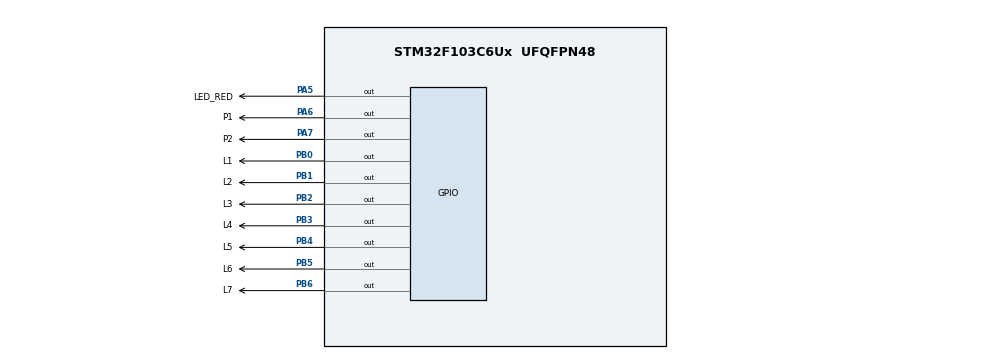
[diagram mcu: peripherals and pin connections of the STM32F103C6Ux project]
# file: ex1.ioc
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Mcu.Family=STM32F1
Mcu.Name=STM32F103C6Ux
Mcu.Package=UFQFPN48
NVIC.PriorityGroup=NVIC_PRIORITYGROUP_4
NVIC.TIM2_IRQn=true\:0\:0\:false\:false\:true\:true\:true
PA5.GPIO_Label=LED_RED
PA5.Signal=GPIO_Output
PA6.GPIO_Label=P1
PA6.Signal=GPIO_Output
PA7.GPIO_Label=P2
PA7.Signal=GPIO_Output
PB0.GPIO_Label=L1
PB0.Signal=GPIO_Output
PB1.GPIO_Label=L2
PB1.Signal=GPIO_Output
PB2.GPIO_Label=L3
PB2.Signal=GPIO_Output
PB3.GPIO_Label=L4
PB3.Signal=GPIO_Output
PB4.GPIO_Label=L5
PB4.Signal=GPIO_Output
PB5.GPIO_Label=L6
PB5.Signal=GPIO_Output
PB6.GPIO_Label=L7
PB6.Signal=GPIO_Output
ProjectManager.HeapSize=0x200
ProjectManager.StackSize=0x400
ProjectManager.TargetToolchain=STM32CubeIDE
RCC.APB1Freq_Value=8000000
RCC.APB2Freq_Value=8000000
TIM2.Period=9
TIM2.Prescaler=7999
VP_SYS_VS_ND.Mode=No_Debug
VP_TIM2_VS_ClockSourceINT.Mode=Internal
board=custom

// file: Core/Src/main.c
/* USER CODE BEGIN Header */
/**
  ******************************************************************************
  * @file           : main.c
  * @brief          : Main program body
  ******************************************************************************
  * @attention
  *
  * <h2><center>&copy; Copyright (c) 2022 STMicroelectronics.
  * All rights reserved.</center></h2>
  *
  * This software component is licensed by ST under BSD 3-Clause license,
  * the "License"; You may not use this file except in compliance with the
  * License. You may obtain a copy of the License at:
  *                        opensource.org/licenses/BSD-3-Clause
  *
  ******************************************************************************
  */
/* USER CODE END Header */
#include "main.h"

/* USER CODE BEGIN Includes */
#include "software_timer.h"
/* USER CODE END Includes */

TIM_HandleTypeDef htim2;

void SystemClock_Config(void);
static void MX_TIM2_Init(void);
static void MX_GPIO_Init(void);

int main(void)
{

  /* MCU Configuration--------------------------------------------------------*/

  /* Reset of all peripherals, Initializes the Flash interface and the Systick. */
  HAL_Init();

  /* Configure the system clock */
  SystemClock_Config();

  /* Initialize all configured peripherals */
  MX_TIM2_Init();
  MX_GPIO_Init();
  /* USER CODE BEGIN 2 */
  HAL_TIM_Base_Start_IT(&htim2);
  void display7SEG(int num){
  	  HAL_GPIO_WritePin( L1_GPIO_Port , L1_Pin ,GPIO_PIN_SET );
  	  HAL_GPIO_WritePin( L2_GPIO_Port , L2_Pin ,GPIO_PIN_SET );
  	  HAL_GPIO_WritePin( L3_GPIO_Port , L3_Pin ,GPIO_PIN_SET );
  	  HAL_GPIO_WritePin( L4_GPIO_Port , L4_Pin ,GPIO_PIN_SET );
  	  HAL_GPIO_WritePin( L5_GPIO_Port , L5_Pin ,GPIO_PIN_SET );
  	  HAL_GPIO_WritePin( L6_GPIO_Port , L6_Pin ,GPIO_PIN_SET );
  	  HAL_GPIO_WritePin( L7_GPIO_Port , L7_Pin ,GPIO_PIN_SET );
  	  if(num<=0){
  		  HAL_GPIO_WritePin( L1_GPIO_Port , L1_Pin ,GPIO_PIN_RESET );
  		  HAL_GPIO_WritePin( L2_GPIO_Port , L2_Pin ,GPIO_PIN_RESET );
  		  HAL_GPIO_WritePin( L3_GPIO_Port , L3_Pin ,GPIO_PIN_RESET );
  		  HAL_GPIO_WritePin( L4_GPIO_Port , L4_Pin ,GPIO_PIN_RESET );
  		  HAL_GPIO_WritePin( L5_GPIO_Port , L5_Pin ,GPIO_PIN_RESET );
  		  HAL_GPIO_WritePin( L6_GPIO_Port , L6_Pin ,GPIO_PIN_RESET );
  	  }
  	  else if(num==1){
  		  HAL_GPIO_WritePin( L2_GPIO_Port , L2_Pin ,GPIO_PIN_RESET );
  		  HAL_GPIO_WritePin( L3_GPIO_Port , L3_Pin ,GPIO_PIN_RESET );
  	  }
  	  else if(num==2){
  		  HAL_GPIO_WritePin( L1_GPIO_Port , L1_Pin ,GPIO_PIN_RESET );
  		  HAL_GPIO_WritePin( L2_GPIO_Port , L2_Pin ,GPIO_PIN_RESET );
  		  HAL_GPIO_WritePin( L4_GPIO_Port , L4_Pin ,GPIO_PIN_RESET );
  		  HAL_GPIO_WritePin( L5_GPIO_Port , L5_Pin ,GPIO_PIN_RESET );
  		  HAL_GPIO_WritePin( L7_GPIO_Port , L7_Pin ,GPIO_PIN_RESET );
  	  }
  	  else if(num==3){
  		  HAL_GPIO_WritePin( L1_GPIO_Port , L1_Pin ,GPIO_PIN_RESET );
  		  HAL_GPIO_WritePin( L2_GPIO_Port , L2_Pin ,GPIO_PIN_RESET );
  		  HAL_GPIO_WritePin( L3_GPIO_Port , L3_Pin ,GPIO_PIN_RESET );
  		  HAL_GPIO_WritePin( L4_GPIO_Port , L4_Pin ,GPIO_PIN_RESET );
  		  HAL_GPIO_WritePin( L7_GPIO_Port , L7_Pin ,GPIO_PIN_RESET );
  	  }
  	  else if(num==4){
  		  HAL_GPIO_WritePin( L2_GPIO_Port , L2_Pin ,GPIO_PIN_RESET );
  		  HAL_GPIO_WritePin( L3_GPIO_Port , L3_Pin ,GPIO_PIN_RESET );
  		  HAL_GPIO_WritePin( L6_GPIO_Port , L6_Pin ,GPIO_PIN_RESET );
  		  HAL_GPIO_WritePin( L7_GPIO_Port , L7_Pin ,GPIO_PIN_RESET );
  	  }
  	  else if(num==5){
  		  HAL_GPIO_WritePin( L1_GPIO_Port , L1_Pin ,GPIO_PIN_RESET );
  		  HAL_GPIO_WritePin( L3_GPIO_Port , L3_Pin ,GPIO_PIN_RESET );
  		  HAL_GPIO_WritePin( L4_GPIO_Port , L4_Pin ,GPIO_PIN_RESET );
  		  HAL_GPIO_WritePin( L6_GPIO_Port , L6_Pin ,GPIO_PIN_RESET );
  		  HAL_GPIO_WritePin( L7_GPIO_Port , L7_Pin ,GPIO_PIN_RESET );
  	  }
  	  else if(num==6){
  		  HAL_GPIO_WritePin( L1_GPIO_Port , L1_Pin ,GPIO_PIN_RESET );
  		  HAL_GPIO_WritePin( L3_GPIO_Port , L3_Pin ,GPIO_PIN_RESET );
  		  HAL_GPIO_WritePin( L4_GPIO_Port , L4_Pin ,GPIO_PIN_RESET );
  		  HAL_GPIO_WritePin( L5_GPIO_Port , L5_Pin ,GPIO_PIN_RESET );
  		  HAL_GPIO_WritePin( L6_GPIO_Port , L6_Pin ,GPIO_PIN_RESET );
  		  HAL_GPIO_WritePin( L7_GPIO_Port , L7_Pin ,GPIO_PIN_RESET );
  	  }
  	  else if(num==7){
  		  HAL_GPIO_WritePin( L1_GPIO_Port , L1_Pin ,GPIO_PIN_RESET );
  		  HAL_GPIO_WritePin( L2_GPIO_Port , L2_Pin ,GPIO_PIN_RESET );
  		  HAL_GPIO_WritePin( L3_GPIO_Port , L3_Pin ,GPIO_PIN_RESET );
  	  }
  	  else if(num==8){
  		  HAL_GPIO_WritePin( L1_GPIO_Port , L1_Pin ,GPIO_PIN_RESET );
  		  HAL_GPIO_WritePin( L2_GPIO_Port , L2_Pin ,GPIO_PIN_RESET );
  		  HAL_GPIO_WritePin( L3_GPIO_Port , L3_Pin ,GPIO_PIN_RESET );
  		  HAL_GPIO_WritePin( L4_GPIO_Port , L4_Pin ,GPIO_PIN_RESET );
  		  HAL_GPIO_WritePin( L5_GPIO_Port , L5_Pin ,GPIO_PIN_RESET );
  		  HAL_GPIO_WritePin( L6_GPIO_Port , L6_Pin ,GPIO_PIN_RESET );
  		  HAL_GPIO_WritePin( L7_GPIO_Port , L7_Pin ,GPIO_PIN_RESET );
  	  }
  	  else if(num==9){
  		  HAL_GPIO_WritePin( L1_GPIO_Port , L1_Pin ,GPIO_PIN_RESET );
  		  HAL_GPIO_WritePin( L2_GPIO_Port , L2_Pin ,GPIO_PIN_RESET );
  		  HAL_GPIO_WritePin( L3_GPIO_Port , L3_Pin ,GPIO_PIN_RESET );
  		  HAL_GPIO_WritePin( L4_GPIO_Port , L4_Pin ,GPIO_PIN_RESET );
  		  HAL_GPIO_WritePin( L6_GPIO_Port , L6_Pin ,GPIO_PIN_RESET );
  		  HAL_GPIO_WritePin( L7_GPIO_Port , L7_Pin ,GPIO_PIN_RESET );
  	  }
    }
  /* USER CODE END 2 */

  /* Infinite loop */
  /* USER CODE BEGIN WHILE */
  int status = 0;
  setTimer(50);
  while (1)
  {
	  /* USER CODE BEGIN 3 */
	  if(timer1_flag == 1){
		  setTimer(50);
		  HAL_GPIO_TogglePin(LED_RED_GPIO_Port, LED_RED_Pin);
		  if(status == 0){
			  HAL_GPIO_WritePin(P2_GPIO_Port, P2_Pin, GPIO_PIN_RESET);
			  display7SEG(1);
			  HAL_GPIO_WritePin(P1_GPIO_Port, P1_Pin, GPIO_PIN_SET);
		  }
		  else{
			  HAL_GPIO_WritePin(P1_GPIO_Port, P1_Pin, GPIO_PIN_RESET);
			  display7SEG(2);
			  HAL_GPIO_WritePin(P2_GPIO_Port, P2_Pin, GPIO_PIN_SET);
		  }
		  status = 1 - status;
	  }
	  /* USER CODE END 3 */
  }
    /* USER CODE END WHILE */

}

void SystemClock_Config(void)
{
  RCC_OscInitTypeDef RCC_OscInitStruct = {0};
  RCC_ClkInitTypeDef RCC_ClkInitStruct = {0};

  /** Initializes the RCC Oscillators according to the specified parameters
  * in the RCC_OscInitTypeDef structure.
  */
  RCC_OscInitStruct.OscillatorType = RCC_OSCILLATORTYPE_HSI;
  RCC_OscInitStruct.HSIState = RCC_HSI_ON;
  RCC_OscInitStruct.HSICalibrationValue = RCC_HSICALIBRATION_DEFAULT;
  RCC_OscInitStruct.PLL.PLLState = RCC_PLL_NONE;
  if (HAL_RCC_OscConfig(&RCC_OscInitStruct) != HAL_OK)
  {
    Error_Handler();
  }
  /** Initializes the CPU, AHB and APB buses clocks
  */
  RCC_ClkInitStruct.ClockType = RCC_CLOCKTYPE_HCLK|RCC_CLOCKTYPE_SYSCLK
                              |RCC_CLOCKTYPE_PCLK1|RCC_CLOCKTYPE_PCLK2;
  RCC_ClkInitStruct.SYSCLKSource = RCC_SYSCLKSOURCE_HSI;
  RCC_ClkInitStruct.AHBCLKDivider = RCC_SYSCLK_DIV1;
  RCC_ClkInitStruct.APB1CLKDivider = RCC_HCLK_DIV1;
  RCC_ClkInitStruct.APB2CLKDivider = RCC_HCLK_DIV1;

  if (HAL_RCC_ClockConfig(&RCC_ClkInitStruct, FLASH_LATENCY_0) != HAL_OK)
  {
    Error_Handler();
  }
}

static void MX_TIM2_Init(void)
{

  TIM_ClockConfigTypeDef sClockSourceConfig = {0};
  TIM_MasterConfigTypeDef sMasterConfig = {0};

  htim2.Instance = TIM2;
  htim2.Init.Prescaler = 7999;
  htim2.Init.CounterMode = TIM_COUNTERMODE_UP;
  htim2.Init.Period = 9;
  htim2.Init.ClockDivision = TIM_CLOCKDIVISION_DIV1;
  htim2.Init.AutoReloadPreload = TIM_AUTORELOAD_PRELOAD_DISABLE;
  if (HAL_TIM_Base_Init(&htim2) != HAL_OK)
  {
    Error_Handler();
  }
  sClockSourceConfig.ClockSource = TIM_CLOCKSOURCE_INTERNAL;
  if (HAL_TIM_ConfigClockSource(&htim2, &sClockSourceConfig) != HAL_OK)
  {
    Error_Handler();
  }
  sMasterConfig.MasterOutputTrigger = TIM_TRGO_RESET;
  sMasterConfig.MasterSlaveMode = TIM_MASTERSLAVEMODE_DISABLE;
  if (HAL_TIMEx_MasterConfigSynchronization(&htim2, &sMasterConfig) != HAL_OK)
  {
    Error_Handler();
  }

}

static void MX_GPIO_Init(void)
{
  GPIO_InitTypeDef GPIO_InitStruct = {0};

  /* GPIO Ports Clock Enable */
  __HAL_RCC_GPIOA_CLK_ENABLE();
  __HAL_RCC_GPIOB_CLK_ENABLE();

  /*Configure GPIO pin Output Level */
  HAL_GPIO_WritePin(GPIOA, LED_RED_Pin|P1_Pin|P2_Pin, GPIO_PIN_RESET);

  /*Configure GPIO pin Output Level */
  HAL_GPIO_WritePin(GPIOB, L1_Pin|L2_Pin|L3_Pin|L4_Pin
                          |L5_Pin|L6_Pin|L7_Pin, GPIO_PIN_RESET);

  /*Configure GPIO pins : LED_RED_Pin P1_Pin P2_Pin */
  GPIO_InitStruct.Pin = LED_RED_Pin|P1_Pin|P2_Pin;
  GPIO_InitStruct.Mode = GPIO_MODE_OUTPUT_PP;
  GPIO_InitStruct.Pull = GPIO_NOPULL;
  GPIO_InitStruct.Speed = GPIO_SPEED_FREQ_LOW;
  HAL_GPIO_Init(GPIOA, &GPIO_InitStruct);

  /*Configure GPIO pins : L1_Pin L2_Pin L3_Pin L4_Pin
                           L5_Pin L6_Pin L7_Pin */
  GPIO_InitStruct.Pin = L1_Pin|L2_Pin|L3_Pin|L4_Pin
                          |L5_Pin|L6_Pin|L7_Pin;
  GPIO_InitStruct.Mode = GPIO_MODE_OUTPUT_PP;
  GPIO_InitStruct.Pull = GPIO_NOPULL;
  GPIO_InitStruct.Speed = GPIO_SPEED_FREQ_LOW;
  HAL_GPIO_Init(GPIOB, &GPIO_InitStruct);

}

/* USER CODE BEGIN 4 */
void HAL_TIM_PeriodElapsedCallback(TIM_HandleTypeDef *htim)
{
	timerRun();
}

/* USER CODE END 4 */

void Error_Handler(void)
{
  __disable_irq();
  while (1)
  {
  }
}

/************************ (C) COPYRIGHT STMicroelectronics *****END OF FILE****/
